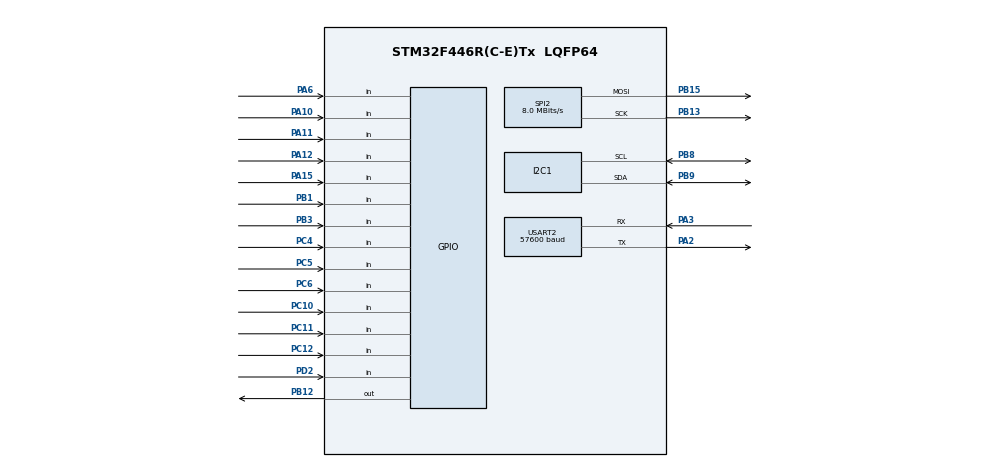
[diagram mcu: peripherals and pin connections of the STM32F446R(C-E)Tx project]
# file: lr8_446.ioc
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Mcu.Family=STM32F4
Dma.SPI2_TX.0.MemInc=DMA_MINC_ENABLE
RCC.CortexFreq_Value=16000000
Dma.I2C1_RX.3.Direction=DMA_PERIPH_TO_MEMORY
NVIC.I2C1_EV_IRQn=true\:0\:0\:false\:false\:true\:true\:true
SPI2.VirtualType=VM_MASTER
Dma.I2C1_TX.4.PeriphInc=DMA_PINC_DISABLE
PC10.Signal=GPIO_Input
PC12.Signal=GPIO_Input
NVIC.DMA1_Stream4_IRQn=true\:0\:0\:false\:false\:true\:false\:true
PB13.Signal=SPI2_SCK
PB15.Signal=SPI2_MOSI
Dma.SPI2_TX.0.Instance=DMA1_Stream4
Dma.I2C1_RX.3.Priority=DMA_PRIORITY_LOW
Dma.USART2_RX.1.MemDataAlignment=DMA_MDATAALIGN_BYTE
ProjectManager.StackSize=0x400
Dma.SPI2_TX.0.MemDataAlignment=DMA_MDATAALIGN_BYTE
Dma.USART2_TX.2.PeriphDataAlignment=DMA_PDATAALIGN_BYTE
Dma.I2C1_TX.4.PeriphDataAlignment=DMA_PDATAALIGN_BYTE
PA12.Signal=GPIO_Input
Dma.I2C1_RX.3.FIFOMode=DMA_FIFOMODE_DISABLE
VP_TIM10_VS_ClockSourceINT.Mode=Enable_Timer
Dma.USART2_RX.1.PeriphInc=DMA_PINC_DISABLE
Dma.SPI2_TX.0.Mode=DMA_NORMAL
Dma.USART2_RX.1.MemInc=DMA_MINC_ENABLE
Dma.I2C1_RX.3.Mode=DMA_NORMAL
Dma.USART2_TX.2.Priority=DMA_PRIORITY_LOW
PA14.Mode=Serial_Wire
Dma.USART2_TX.2.MemDataAlignment=DMA_MDATAALIGN_BYTE
SPI2.CalculateBaudRate=8.0 MBits/s
NVIC.I2C1_ER_IRQn=true\:0\:0\:false\:false\:true\:true\:true
NVIC.DMA1_Stream7_IRQn=true\:0\:0\:false\:false\:true\:false\:true
Dma.I2C1_RX.3.PeriphInc=DMA_PINC_DISABLE
PB9.Signal=I2C1_SDA
Mcu.Package=LQFP64
PB1.Signal=GPIO_Input
PA6.Signal=GPIO_Input
SPI2.Mode=SPI_MODE_MASTER
USART2.VirtualMode=VM_ASYNC
PA10.Signal=GPIO_Input
PA15.Signal=GPIO_Input
Dma.SPI2_TX.0.PeriphInc=DMA_PINC_DISABLE
Dma.Request2=USART2_TX
Dma.Request1=USART2_RX
Dma.Request4=I2C1_TX
Dma.Request3=I2C1_RX
NVIC.DMA1_Stream0_IRQn=true\:0\:0\:false\:false\:true\:false\:true
SPI2.Direction=SPI_DIRECTION_2LINES
PC5.Signal=GPIO_Input
PB13.Mode=TX_Only_Simplex_Unidirect_Master
Dma.USART2_RX.1.Mode=DMA_NORMAL
Dma.Request0=SPI2_TX
NVIC.DMA1_Stream6_IRQn=true\:0\:0\:false\:false\:true\:false\:true
Dma.I2C1_RX.3.MemDataAlignment=DMA_MDATAALIGN_BYTE
PA3.Signal=USART2_RX
Dma.I2C1_TX.4.Priority=DMA_PRIORITY_LOW
TIM10.Prescaler=1599
Dma.I2C1_TX.4.MemDataAlignment=DMA_MDATAALIGN_BYTE
Dma.USART2_TX.2.PeriphInc=DMA_PINC_DISABLE
Dma.USART2_RX.1.Priority=DMA_PRIORITY_LOW
Dma.USART2_RX.1.FIFOMode=DMA_FIFOMODE_DISABLE
Dma.USART2_TX.2.MemInc=DMA_MINC_ENABLE
PC11.Signal=GPIO_Input
PC4.Signal=GPIO_Input
PC6.Signal=GPIO_Input
Dma.I2C1_RX.3.PeriphDataAlignment=DMA_PDATAALIGN_BYTE
USART2.BaudRate=57600
Dma.I2C1_TX.4.FIFOMode=DMA_FIFOMODE_DISABLE
PA13.Signal=SYS_JTMS-SWDIO
PA3.Mode=Asynchronous
Dma.I2C1_TX.4.Mode=DMA_NORMAL
ProjectManager.TargetToolchain=STM32CubeIDE
NVIC.DMA1_Stream5_IRQn=true\:0\:0\:false\:false\:true\:false\:true
PB9.Mode=I2C
RCC.USBFreq_Value=96000000
Dma.USART2_RX.1.Instance=DMA1_Stream5
Dma.USART2_RX.1.Direction=DMA_PERIPH_TO_MEMORY
Dma.USART2_RX.1.PeriphDataAlignment=DMA_PDATAALIGN_BYTE
board=custom
RCC.VCOOutputFreq_Value=192000000
PB15.Mode=TX_Only_Simplex_Unidirect_Master
TIM10.Period=9
Dma.SPI2_TX.0.PeriphDataAlignment=DMA_PDATAALIGN_BYTE
Dma.I2C1_TX.4.MemInc=DMA_MINC_ENABLE
Dma.I2C1_TX.4.Instance=DMA1_Stream7
PA13.Mode=Serial_Wire
Mcu.Name=STM32F446R(C-E)Tx
Dma.SPI2_TX.0.FIFOMode=DMA_FIFOMODE_DISABLE
Dma.I2C1_RX.3.Instance=DMA1_Stream0
Dma.I2C1_TX.4.Direction=DMA_MEMORY_TO_PERIPH
PA2.Signal=USART2_TX
Dma.USART2_TX.2.Mode=DMA_NORMAL
PB3.Signal=GPIO_Input
Dma.SPI2_TX.0.Priority=DMA_PRIORITY_LOW
Dma.USART2_TX.2.Instance=DMA1_Stream6
PA11.Signal=GPIO_Input
PA14.Signal=SYS_JTCK-SWCLK
ProjectManager.HeapSize=0x200
NVIC.TIM1_UP_TIM10_IRQn=true\:0\:0\:false\:false\:true\:true\:true
Dma.USART2_TX.2.Direction=DMA_MEMORY_TO_PERIPH
Dma.I2C1_RX.3.MemInc=DMA_MINC_ENABLE
NVIC.PriorityGroup=NVIC_PRIORITYGROUP_4
PB8.Mode=I2C
Dma.USART2_TX.2.FIFOMode=DMA_FIFOMODE_DISABLE
PA2.Mode=Asynchronous
PB8.Signal=I2C1_SCL
PD2.Signal=GPIO_Input
Dma.SPI2_TX.0.Direction=DMA_MEMORY_TO_PERIPH
PB12.Signal=GPIO_Output

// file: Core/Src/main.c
/* USER CODE BEGIN Header */
/**
  ******************************************************************************
  * @file           : main.c
  * @brief          : Main program body
  ******************************************************************************
  * @attention
  *
  * <h2><center>&copy; Copyright (c) 2023 STMicroelectronics.
  * All rights reserved.</center></h2>
  *
  * This software component is licensed by ST under BSD 3-Clause license,
  * the "License"; You may not use this file except in compliance with the
  * License. You may obtain a copy of the License at:
  *                        opensource.org/licenses/BSD-3-Clause
  *
  ******************************************************************************
  */
/* USER CODE END Header */
#include "main.h"

/* USER CODE BEGIN Includes */
#include <stdio.h>

/* USER CODE END Includes */

I2C_HandleTypeDef hi2c1;
DMA_HandleTypeDef hdma_i2c1_rx;
DMA_HandleTypeDef hdma_i2c1_tx;

SPI_HandleTypeDef hspi2;
DMA_HandleTypeDef hdma_spi2_tx;

TIM_HandleTypeDef htim10;

UART_HandleTypeDef huart2;
DMA_HandleTypeDef hdma_usart2_rx;
DMA_HandleTypeDef hdma_usart2_tx;

void SystemClock_Config(void);
static void MX_GPIO_Init(void);
static void MX_DMA_Init(void);
static void MX_SPI2_Init(void);
static void MX_TIM10_Init(void);
static void MX_USART2_UART_Init(void);
static void MX_I2C1_Init(void);

/* USER CODE BEGIN 0 */
int var = 125;
uint8_t spi_data[2];

uint16_t Adress_wr = 0b10100000;
uint16_t Adress_rd = 0b10100001;

uint16_t adr_mem = 0b0000000010000000;

typedef struct {
  uint32_t startByte;
  uint16_t addr;
  uint8_t  val;
  uint32_t endByte;
}inputData;

typedef struct {
  uint32_t startByte;
  uint16_t flag;
  uint8_t  val;
  uint32_t endByte;
}outputData;

inputData rxData = {'rrrr',0,0, 'nnnn'};
outputData txData= {'rrrr',0,0, 'nnnn'};

HAL_StatusTypeDef  error_write;
HAL_StatusTypeDef error_read;

int check_red_button() {
	static GPIO_PinState previous_red_status = GPIO_PIN_SET;
	GPIO_PinState current_red_status =  HAL_GPIO_ReadPin(GPIOC, GPIO_PIN_5);
	if (previous_red_status == GPIO_PIN_SET && current_red_status == GPIO_PIN_RESET) {
		previous_red_status = current_red_status;
		return 1;
	}
	previous_red_status = current_red_status;
	return 0;
}

int check_blue_button() {
	static GPIO_PinState previous_blue_status = GPIO_PIN_SET;
	GPIO_PinState current_blue_status =  HAL_GPIO_ReadPin(GPIOC, GPIO_PIN_6);
	if (previous_blue_status == GPIO_PIN_SET && current_blue_status == GPIO_PIN_RESET) {
		previous_blue_status = current_blue_status;
		return 1;
	}
	previous_blue_status = current_blue_status;
	return 0;
}

/* USER CODE END 0 */

int main(void)
{

  /* MCU Configuration--------------------------------------------------------*/

  /* Reset of all peripherals, Initializes the Flash interface and the Systick. */
  HAL_Init();

  /* Configure the system clock */
  SystemClock_Config();

  /* Initialize all configured peripherals */
  MX_GPIO_Init();
  MX_DMA_Init();
  MX_SPI2_Init();
  MX_TIM10_Init();
  MX_USART2_UART_Init();
  MX_I2C1_Init();
  /* USER CODE BEGIN 2 */

  HAL_GPIO_WritePin(GPIOB, GPIO_PIN_12, GPIO_PIN_SET);
  HAL_TIM_Base_Start_IT(&htim10);

  /* USER CODE END 2 */

  /* Infinite loop */
  while (1)
  {

    /* USER CODE BEGIN 3 */
	if (check_red_button()) {
		HAL_UART_Receive_DMA(&huart2, &rxData, sizeof(rxData));
		++txData.flag;
		error_write = HAL_I2C_Mem_Write_DMA(&hi2c1, Adress_wr, rxData.addr, sizeof(rxData.addr) , &rxData.val, sizeof(rxData.val));
		HAL_Delay(100);
		HAL_UART_Transmit_DMA(&huart2, &txData, sizeof(txData));
	}
	if (check_blue_button()) {
		HAL_UART_Receive_DMA(&huart2, &rxData, sizeof(rxData));
		error_read = HAL_I2C_Mem_Read_DMA(&hi2c1, Adress_rd, rxData.addr, sizeof(rxData.addr), &txData.val, sizeof(txData.val));
		HAL_UART_Transmit_DMA(&huart2, &txData, sizeof(txData));
	}

  }
  /* USER CODE END 3 */
}

void SystemClock_Config(void)
{
  RCC_OscInitTypeDef RCC_OscInitStruct = {0};
  RCC_ClkInitTypeDef RCC_ClkInitStruct = {0};

  /** Configure the main internal regulator output voltage
  */
  __HAL_RCC_PWR_CLK_ENABLE();
  __HAL_PWR_VOLTAGESCALING_CONFIG(PWR_REGULATOR_VOLTAGE_SCALE3);
  /** Initializes the RCC Oscillators according to the specified parameters
  * in the RCC_OscInitTypeDef structure.
  */
  RCC_OscInitStruct.OscillatorType = RCC_OSCILLATORTYPE_HSI;
  RCC_OscInitStruct.HSIState = RCC_HSI_ON;
  RCC_OscInitStruct.HSICalibrationValue = RCC_HSICALIBRATION_DEFAULT;
  RCC_OscInitStruct.PLL.PLLState = RCC_PLL_NONE;
  if (HAL_RCC_OscConfig(&RCC_OscInitStruct) != HAL_OK)
  {
    Error_Handler();
  }
  /** Initializes the CPU, AHB and APB buses clocks
  */
  RCC_ClkInitStruct.ClockType = RCC_CLOCKTYPE_HCLK|RCC_CLOCKTYPE_SYSCLK
                              |RCC_CLOCKTYPE_PCLK1|RCC_CLOCKTYPE_PCLK2;
  RCC_ClkInitStruct.SYSCLKSource = RCC_SYSCLKSOURCE_HSI;
  RCC_ClkInitStruct.AHBCLKDivider = RCC_SYSCLK_DIV1;
  RCC_ClkInitStruct.APB1CLKDivider = RCC_HCLK_DIV1;
  RCC_ClkInitStruct.APB2CLKDivider = RCC_HCLK_DIV1;

  if (HAL_RCC_ClockConfig(&RCC_ClkInitStruct, FLASH_LATENCY_0) != HAL_OK)
  {
    Error_Handler();
  }
}

static void MX_I2C1_Init(void)
{

  hi2c1.Instance = I2C1;
  hi2c1.Init.ClockSpeed = 100000;
  hi2c1.Init.DutyCycle = I2C_DUTYCYCLE_2;
  hi2c1.Init.OwnAddress1 = 0;
  hi2c1.Init.AddressingMode = I2C_ADDRESSINGMODE_7BIT;
  hi2c1.Init.DualAddressMode = I2C_DUALADDRESS_DISABLE;
  hi2c1.Init.OwnAddress2 = 0;
  hi2c1.Init.GeneralCallMode = I2C_GENERALCALL_DISABLE;
  hi2c1.Init.NoStretchMode = I2C_NOSTRETCH_DISABLE;
  if (HAL_I2C_Init(&hi2c1) != HAL_OK)
  {
    Error_Handler();
  }

}

static void MX_SPI2_Init(void)
{

  /* SPI2 parameter configuration*/
  hspi2.Instance = SPI2;
  hspi2.Init.Mode = SPI_MODE_MASTER;
  hspi2.Init.Direction = SPI_DIRECTION_2LINES;
  hspi2.Init.DataSize = SPI_DATASIZE_8BIT;
  hspi2.Init.CLKPolarity = SPI_POLARITY_LOW;
  hspi2.Init.CLKPhase = SPI_PHASE_1EDGE;
  hspi2.Init.NSS = SPI_NSS_SOFT;
  hspi2.Init.BaudRatePrescaler = SPI_BAUDRATEPRESCALER_2;
  hspi2.Init.FirstBit = SPI_FIRSTBIT_MSB;
  hspi2.Init.TIMode = SPI_TIMODE_DISABLE;
  hspi2.Init.CRCCalculation = SPI_CRCCALCULATION_DISABLE;
  hspi2.Init.CRCPolynomial = 10;
  if (HAL_SPI_Init(&hspi2) != HAL_OK)
  {
    Error_Handler();
  }

}

static void MX_TIM10_Init(void)
{

  htim10.Instance = TIM10;
  htim10.Init.Prescaler = 1599;
  htim10.Init.CounterMode = TIM_COUNTERMODE_UP;
  htim10.Init.Period = 9;
  htim10.Init.ClockDivision = TIM_CLOCKDIVISION_DIV1;
  htim10.Init.AutoReloadPreload = TIM_AUTORELOAD_PRELOAD_DISABLE;
  if (HAL_TIM_Base_Init(&htim10) != HAL_OK)
  {
    Error_Handler();
  }

}

static void MX_USART2_UART_Init(void)
{

  huart2.Instance = USART2;
  huart2.Init.BaudRate = 57600;
  huart2.Init.WordLength = UART_WORDLENGTH_8B;
  huart2.Init.StopBits = UART_STOPBITS_1;
  huart2.Init.Parity = UART_PARITY_NONE;
  huart2.Init.Mode = UART_MODE_TX_RX;
  huart2.Init.HwFlowCtl = UART_HWCONTROL_NONE;
  huart2.Init.OverSampling = UART_OVERSAMPLING_16;
  if (HAL_UART_Init(&huart2) != HAL_OK)
  {
    Error_Handler();
  }

}

static void MX_DMA_Init(void)
{

  /* DMA controller clock enable */
  __HAL_RCC_DMA1_CLK_ENABLE();

  /* DMA interrupt init */
  /* DMA1_Stream0_IRQn interrupt configuration */
  HAL_NVIC_SetPriority(DMA1_Stream0_IRQn, 0, 0);
  HAL_NVIC_EnableIRQ(DMA1_Stream0_IRQn);
  /* DMA1_Stream4_IRQn interrupt configuration */
  HAL_NVIC_SetPriority(DMA1_Stream4_IRQn, 0, 0);
  HAL_NVIC_EnableIRQ(DMA1_Stream4_IRQn);
  /* DMA1_Stream5_IRQn interrupt configuration */
  HAL_NVIC_SetPriority(DMA1_Stream5_IRQn, 0, 0);
  HAL_NVIC_EnableIRQ(DMA1_Stream5_IRQn);
  /* DMA1_Stream6_IRQn interrupt configuration */
  HAL_NVIC_SetPriority(DMA1_Stream6_IRQn, 0, 0);
  HAL_NVIC_EnableIRQ(DMA1_Stream6_IRQn);
  /* DMA1_Stream7_IRQn interrupt configuration */
  HAL_NVIC_SetPriority(DMA1_Stream7_IRQn, 0, 0);
  HAL_NVIC_EnableIRQ(DMA1_Stream7_IRQn);

}

static void MX_GPIO_Init(void)
{
  GPIO_InitTypeDef GPIO_InitStruct = {0};

  /* GPIO Ports Clock Enable */
  __HAL_RCC_GPIOA_CLK_ENABLE();
  __HAL_RCC_GPIOC_CLK_ENABLE();
  __HAL_RCC_GPIOB_CLK_ENABLE();
  __HAL_RCC_GPIOD_CLK_ENABLE();

  /*Configure GPIO pin Output Level */
  HAL_GPIO_WritePin(GPIOB, GPIO_PIN_12, GPIO_PIN_RESET);

  /*Configure GPIO pins : PA6 PA10 PA11 PA12
                           PA15 */
  GPIO_InitStruct.Pin = GPIO_PIN_6|GPIO_PIN_10|GPIO_PIN_11|GPIO_PIN_12
                          |GPIO_PIN_15;
  GPIO_InitStruct.Mode = GPIO_MODE_INPUT;
  GPIO_InitStruct.Pull = GPIO_NOPULL;
  HAL_GPIO_Init(GPIOA, &GPIO_InitStruct);

  /*Configure GPIO pins : PC4 PC5 PC6 PC10
                           PC11 PC12 */
  GPIO_InitStruct.Pin = GPIO_PIN_4|GPIO_PIN_5|GPIO_PIN_6|GPIO_PIN_10
                          |GPIO_PIN_11|GPIO_PIN_12;
  GPIO_InitStruct.Mode = GPIO_MODE_INPUT;
  GPIO_InitStruct.Pull = GPIO_NOPULL;
  HAL_GPIO_Init(GPIOC, &GPIO_InitStruct);

  /*Configure GPIO pins : PB1 PB3 */
  GPIO_InitStruct.Pin = GPIO_PIN_1|GPIO_PIN_3;
  GPIO_InitStruct.Mode = GPIO_MODE_INPUT;
  GPIO_InitStruct.Pull = GPIO_NOPULL;
  HAL_GPIO_Init(GPIOB, &GPIO_InitStruct);

  /*Configure GPIO pin : PB12 */
  GPIO_InitStruct.Pin = GPIO_PIN_12;
  GPIO_InitStruct.Mode = GPIO_MODE_OUTPUT_PP;
  GPIO_InitStruct.Pull = GPIO_NOPULL;
  GPIO_InitStruct.Speed = GPIO_SPEED_FREQ_LOW;
  HAL_GPIO_Init(GPIOB, &GPIO_InitStruct);

  /*Configure GPIO pin : PD2 */
  GPIO_InitStruct.Pin = GPIO_PIN_2;
  GPIO_InitStruct.Mode = GPIO_MODE_INPUT;
  GPIO_InitStruct.Pull = GPIO_NOPULL;
  HAL_GPIO_Init(GPIOD, &GPIO_InitStruct);

}

/* USER CODE BEGIN 4 */
int i = 0;
int curr_dig;

void HAL_TIM_PeriodElapsedCallback(TIM_HandleTypeDef* htim)
{
	//++k;
	//HAL_GPIO_WritePin( NSS2_GPIO_Port, NSS2_Pin, GPIO_PIN_RESET );
	//var = var+1;

	//0x7E  ,0xBF ,0xDF, 0xEF
	uint8_t digit[4] = { 0xBF ,0xDF, 0xEF};
	uint8_t number[10] = {0xC0, 0xF9, 0xA4, 0xB0, 0x99, 0x92, 0x02, 0xF8, 0x80, 0x90};

	i = (i+1) %3;

	curr_dig = txData.val/ (int)pow(10,i) %10;
	spi_data[0] = number[curr_dig];
	spi_data[1] = digit[i];

	//0x7E  ,0xBF ,0xEF, 0xEF
	//0xC0 ,0x ,0x ,0x ,0x ,0x ,0x ,0x ,0x ,0x
	//spi_data[0] = 0xF9;
	//spi_data[1] = 0xDF;

	HAL_GPIO_WritePin(GPIOB, GPIO_PIN_12, GPIO_PIN_RESET);
	HAL_SPI_Transmit_DMA(&hspi2, spi_data, (uint16_t)sizeof(spi_data));
	//HAL_SPI_Transmit_DMA();
	HAL_GPIO_WritePin(GPIOB, GPIO_PIN_12, GPIO_PIN_SET);

}
/* USER CODE END 4 */

void Error_Handler(void)
{
  __disable_irq();
  while (1)
  {
  }
}

/************************ (C) COPYRIGHT STMicroelectronics *****END OF FILE****/
